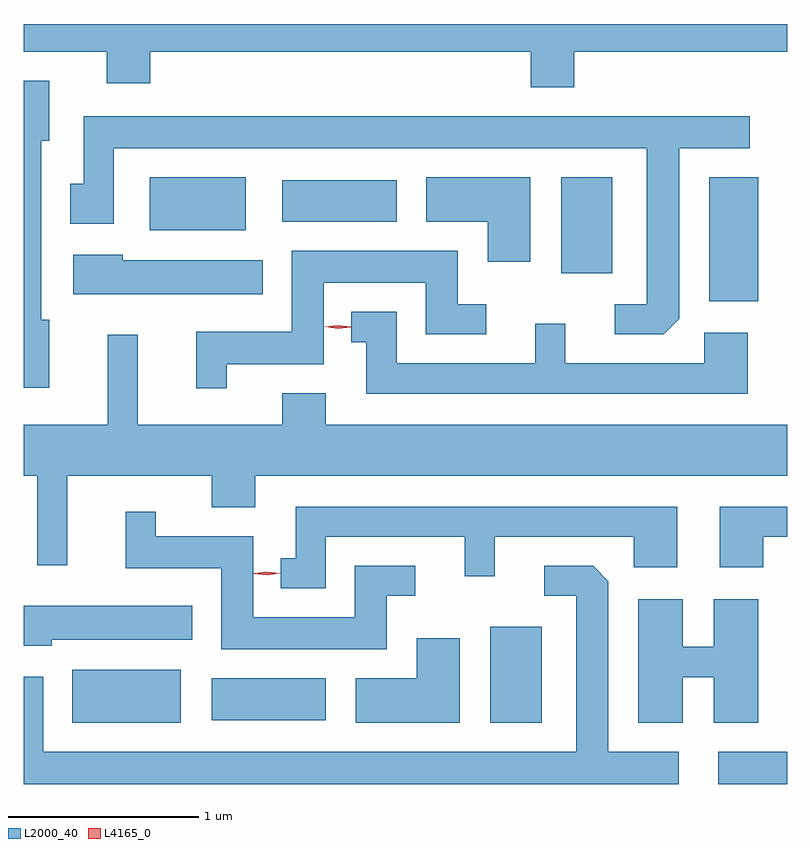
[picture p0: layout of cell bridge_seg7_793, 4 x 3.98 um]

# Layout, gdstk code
import gdstk
lib = gdstk.Library(unit=1e-6, precision=1e-09)
def R(c, l, rs):  # rectangles x0, y0, x1, y1
    for r in rs: c.add(gdstk.rectangle(r[:2], r[2:], *l))
def P(c, l, *ps):  # polygons
    for p in ps: c.add(gdstk.Polygon(p, *l))
L2000_40 = (2000, 40)
L4165_0 = (4165, 0)

bridge_seg7_793 = lib.new_cell('bridge_seg7_793')
R(bridge_seg7_793, L2000_40, [(352.583,1743.781,352.946,1743.949), (349.201,1744.101,349.769,1744.379), (351.391,1744.101,351.659,1744.604), (349.931,1744.116,350.529,1744.334), (352.536,1746.311,352.794,1746.959), (351.761,1746.456,352.029,1746.959), (349.606,1746.681,350.109,1746.959), (350.301,1746.726,350.899,1746.944)])
P(bridge_seg7_793, L2000_40, [(351.829,1747.616),(352.946,1747.616),(352.946,1747.762),(348.946,1747.762),(348.946,1747.616),(349.381,1747.616),(349.381,1747.451),(349.609,1747.451),(349.609,1747.616),(351.601,1747.616),(351.601,1747.431),(351.829,1747.431)],
  [(349.079,1746.214),(349.039,1746.214),(349.039,1747.151),(349.079,1747.151),(349.079,1747.464),(348.946,1747.464),(348.946,1745.856),(349.079,1745.856)],
  [(352.379,1746.217),(352.379,1747.111),(352.748,1747.111),(352.748,1747.279),(349.261,1747.279),(349.261,1746.924),(349.191,1746.924),(349.191,1746.716),(349.419,1746.716),(349.419,1747.111),(352.211,1747.111),(352.211,1746.294),(352.043,1746.294),(352.043,1746.136),(352.299,1746.136)],
  [(351.599,1746.959),(351.056,1746.959),(351.056,1746.726),(351.376,1746.726),(351.376,1746.516),(351.599,1746.516)],
  [(350.009,1745.981),(350.519,1745.981),(350.519,1746.406),(351.051,1746.406),(351.051,1746.136),(351.368,1746.136),(351.368,1746.294),(351.219,1746.294),(351.219,1746.574),(350.351,1746.574),(350.351,1746.149),(349.851,1746.149),(349.851,1745.853),(350.009,1745.853)],
  [(350.199,1746.524),(349.464,1746.524),(349.464,1746.554),(349.206,1746.554),(349.206,1746.346),(350.199,1746.346)],
  [(352.739,1746.144),(352.511,1746.144),(352.511,1745.984),(351.784,1745.984),(351.784,1746.193),(351.626,1746.193),(351.626,1745.984),(350.899,1745.984),(350.899,1746.254),(350.663,1746.254),(350.663,1746.096),(350.741,1746.096),(350.741,1745.826),(352.739,1745.826)],
  [(349.174,1745.396),(349.931,1745.396),(349.931,1745.231),(350.159,1745.231),(350.159,1745.396),(352.946,1745.396),(352.946,1745.664),(350.529,1745.664),(350.529,1745.829),(350.301,1745.829),(350.301,1745.664),(349.544,1745.664),(349.544,1746.133),(349.386,1746.133),(349.386,1745.664),(348.946,1745.664),(348.946,1745.396),(349.016,1745.396),(349.016,1744.928),(349.174,1744.928)],
  [(352.819,1745.076),(352.946,1745.076),(352.946,1745.234),(352.591,1745.234),(352.591,1744.916),(352.819,1744.916)],
  [(350.529,1745.076),(351.256,1745.076),(351.256,1744.868),(351.414,1744.868),(351.414,1745.076),(352.141,1745.076),(352.141,1744.916),(352.369,1744.916),(352.369,1745.234),(350.371,1745.234),(350.371,1744.964),(350.293,1744.964),(350.293,1744.806),(350.529,1744.806)],
  [(350.849,1744.766),(350.998,1744.766),(350.998,1744.924),(350.681,1744.924),(350.681,1744.654),(350.149,1744.654),(350.149,1745.079),(349.639,1745.079),(349.639,1745.208),(349.481,1745.208),(349.481,1744.911),(349.981,1744.911),(349.981,1744.486),(350.849,1744.486)],
  [(352.378,1743.949),(352.009,1743.949),(352.009,1744.844),(351.929,1744.924),(351.673,1744.924),(351.673,1744.766),(351.841,1744.766),(351.841,1743.949),(349.049,1743.949),(349.049,1744.344),(348.946,1744.344),(348.946,1743.781),(352.378,1743.781)],
  [(352.399,1744.341),(352.561,1744.341),(352.561,1744.101),(352.794,1744.101),(352.794,1744.749),(352.561,1744.749),(352.561,1744.499),(352.399,1744.499),(352.399,1744.749),(352.166,1744.749),(352.166,1744.101),(352.399,1744.101)],
  [(349.094,1744.536),(349.829,1744.536),(349.829,1744.714),(348.946,1744.714),(348.946,1744.506),(349.094,1744.506)],
  [(351.229,1744.544),(351.006,1744.544),(351.006,1744.334),(350.686,1744.334),(350.686,1744.101),(351.229,1744.101)])
P(bridge_seg7_793, L4165_0, [(350.221,1744.874),(350.152,1744.883),(350.152,1744.884),(350.152,1744.884),(350.221,1744.894),(350.291,1744.885),(350.291,1744.884),(350.291,1744.884)],
  [(350.591,1746.165),(350.522,1746.175),(350.522,1746.175),(350.522,1746.176),(350.591,1746.185),(350.661,1746.175),(350.661,1746.175),(350.661,1746.174)])

lib.write_gds('bridge_seg7_793.gds')
